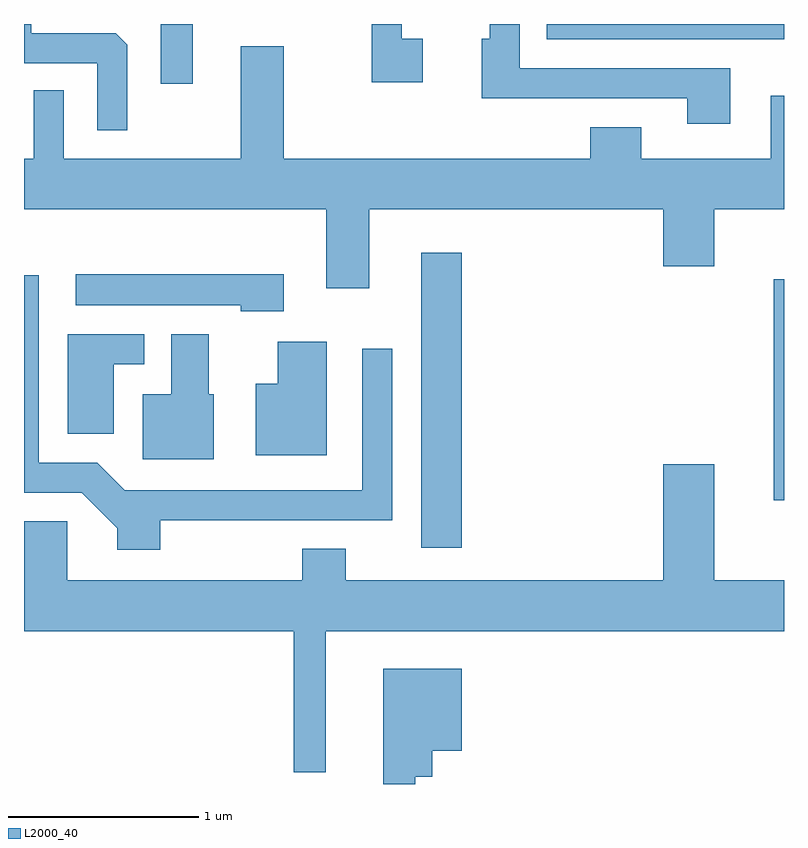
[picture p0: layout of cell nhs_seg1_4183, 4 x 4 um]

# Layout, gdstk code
import gdstk
lib = gdstk.Library(unit=1e-6, precision=1e-09)
def R(c, l, rs):  # rectangles x0, y0, x1, y1
    for r in rs: c.add(gdstk.rectangle(r[:2], r[2:], *l))
def P(c, l, *ps):  # polygons
    for p in ps: c.add(gdstk.Polygon(p, *l))
L2000_40 = (2000, 40)

nhs_seg1_4183 = lib.new_cell('nhs_seg1_4183')
R(nhs_seg1_4183, L2000_40, [(313.701,848.956,313.914,850.509), (315.556,849.206,315.611,850.369), (312.331,851.398,312.499,851.712), (314.363,851.631,315.611,851.712)])
P(nhs_seg1_4183, L2000_40, [(315.329,851.479),(314.219,851.479),(314.219,851.712),(314.061,851.712),(314.061,851.634),(314.021,851.634),(314.021,851.321),(315.101,851.321),(315.101,851.186),(315.329,851.186)],
  [(312.154,851.604),(312.094,851.664),(311.649,851.664),(311.649,851.712),(311.611,851.712),(311.611,851.506),(311.996,851.506),(311.996,851.153),(312.154,851.153)],
  [(313.709,851.634),(313.599,851.634),(313.599,851.712),(313.441,851.712),(313.441,851.406),(313.709,851.406)],
  [(313.429,850.736),(314.976,850.736),(314.976,850.436),(315.244,850.436),(315.244,850.736),(315.611,850.736),(315.611,851.334),(315.541,851.334),(315.541,851.004),(314.859,851.004),(314.859,851.169),(314.591,851.169),(314.591,851.004),(312.979,851.004),(312.979,851.594),(312.751,851.594),(312.751,851.004),(311.819,851.004),(311.819,851.363),(311.661,851.363),(311.661,851.004),(311.611,851.004),(311.611,850.736),(313.201,850.736),(313.201,850.321),(313.429,850.321)],
  [(312.979,850.394),(311.883,850.394),(311.883,850.231),(312.751,850.231),(312.751,850.201),(312.979,850.201)],
  [(312.329,849.101),(313.549,849.101),(313.549,850.003),(313.391,850.003),(313.391,849.259),(312.142,849.259),(311.997,849.404),(311.689,849.404),(311.689,850.389),(311.611,850.389),(311.611,849.246),(311.914,849.246),(312.101,849.059),(312.101,848.946),(312.329,848.946)],
  [(312.609,849.764),(312.584,849.764),(312.584,850.079),(312.386,850.079),(312.386,849.764),(312.236,849.764),(312.236,849.421),(312.609,849.421)],
  [(312.084,849.921),(312.243,849.921),(312.243,850.079),(311.841,850.079),(311.841,849.556),(312.084,849.556)],
  [(313.204,850.039),(312.946,850.039),(312.946,849.819),(312.831,849.819),(312.831,849.441),(313.204,849.441)],
  [(313.199,848.516),(315.611,848.516),(315.611,848.784),(315.244,848.784),(315.244,849.394),(314.976,849.394),(314.976,848.784),(313.304,848.784),(313.304,848.949),(313.076,848.949),(313.076,848.784),(311.839,848.784),(311.839,849.094),(311.611,849.094),(311.611,848.516),(313.031,848.516),(313.031,847.773),(313.199,847.773)],
  [(313.669,847.751),(313.759,847.751),(313.759,847.886),(313.914,847.886),(313.914,848.319),(313.501,848.319),(313.501,847.712),(313.669,847.712)])

lib.write_gds('nhs_seg1_4183.gds')
